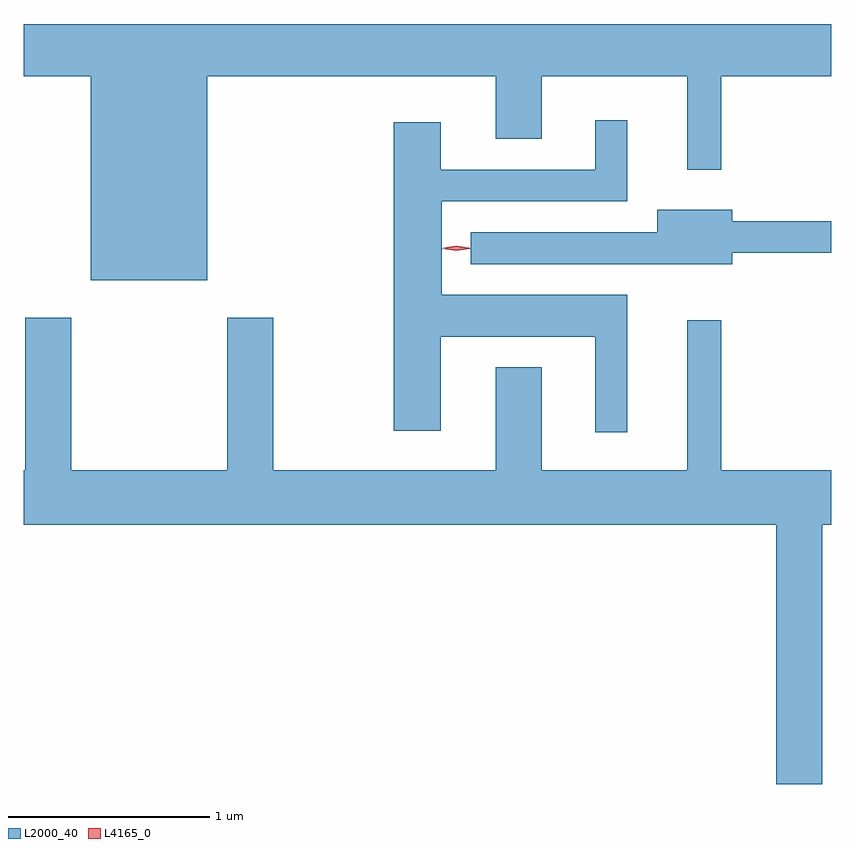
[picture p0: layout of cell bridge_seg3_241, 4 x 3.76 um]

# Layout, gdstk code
import gdstk
lib = gdstk.Library(unit=1e-6, precision=1e-09)
def P(c, l, *ps):  # polygons
    for p in ps: c.add(gdstk.Polygon(p, *l))
L2000_40 = (2000, 40)
L4165_0 = (4165, 0)

bridge_seg3_241 = lib.new_cell('bridge_seg3_241')
P(bridge_seg3_241, L2000_40, [(942.904,1143.776),(944.331,1143.776),(944.331,1143.466),(944.559,1143.466),(944.559,1143.776),(945.281,1143.776),(945.281,1143.313),(945.449,1143.313),(945.449,1143.776),(945.994,1143.776),(945.994,1144.035),(941.994,1144.035),(941.994,1143.776),(942.326,1143.776),(942.326,1142.766),(942.904,1142.766)],
  [(944.984,1142.694),(944.064,1142.694),(944.064,1143.156),(944.984,1143.156),(944.984,1143.558),(944.826,1143.558),(944.826,1143.314),(944.059,1143.314),(944.059,1143.549),(943.826,1143.549),(943.826,1142.021),(944.059,1142.021),(944.059,1142.486),(944.826,1142.486),(944.826,1142.013),(944.984,1142.013)],
  [(945.504,1142.901),(945.994,1142.901),(945.994,1143.059),(945.504,1143.059),(945.504,1143.114),(945.131,1143.114),(945.131,1143.004),(944.208,1143.004),(944.208,1142.846),(945.504,1142.846)],
  [(945.949,1141.556),(945.994,1141.556),(945.994,1141.824),(945.449,1141.824),(945.449,1142.568),(945.281,1142.568),(945.281,1141.824),(944.559,1141.824),(944.559,1142.334),(944.331,1142.334),(944.331,1141.824),(943.229,1141.824),(943.229,1142.579),(943.001,1142.579),(943.001,1141.824),(942.229,1141.824),(942.229,1142.579),(942.001,1142.579),(942.001,1141.824),(941.994,1141.824),(941.994,1141.556),(945.721,1141.556),(945.721,1140.271),(945.949,1140.271)])
P(bridge_seg3_241, L4165_0, [(944.137,1142.913),(944.068,1142.922),(944.067,1142.923),(944.068,1142.923),(944.137,1142.933),(944.206,1142.923),(944.206,1142.923),(944.206,1142.922)],
  [(944.136,1142.916),(944.071,1142.927),(944.07,1142.927),(944.071,1142.928),(944.137,1142.936),(944.202,1142.926),(944.203,1142.925),(944.202,1142.924)])

lib.write_gds('bridge_seg3_241.gds')
